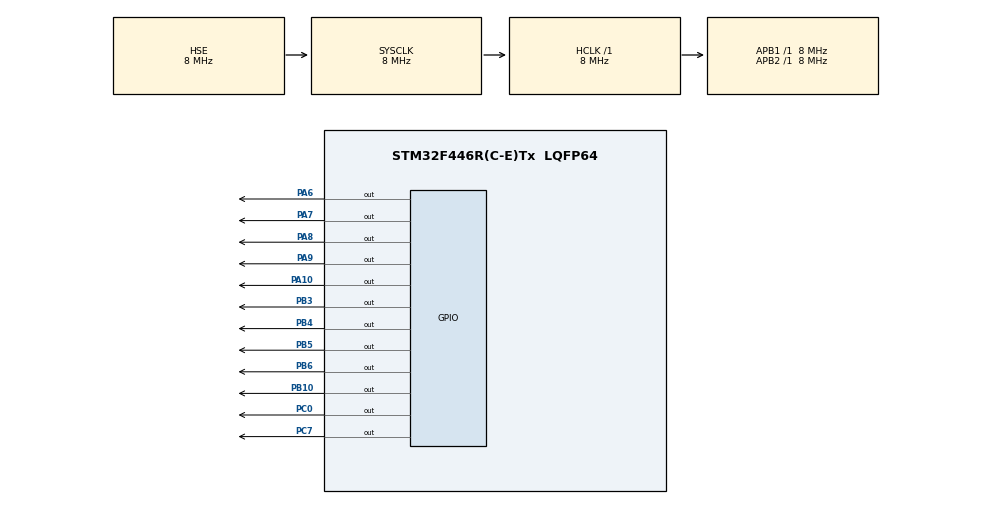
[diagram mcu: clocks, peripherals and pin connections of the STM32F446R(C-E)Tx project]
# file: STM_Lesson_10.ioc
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Mcu.Family=STM32F4
Mcu.Name=STM32F446R(C-E)Tx
Mcu.Package=LQFP64
NVIC.PriorityGroup=NVIC_PRIORITYGROUP_4
NVIC.TIM6_DAC_IRQn=true\:0\:0\:false\:false\:true\:true\:true\:true
PA10.GPIO_PuPd=GPIO_NOPULL
PA10.Signal=GPIO_Output
PA6.GPIO_PuPd=GPIO_PULLUP
PA6.PinState=GPIO_PIN_SET
PA6.Signal=GPIO_Output
PA7.GPIO_PuPd=GPIO_PULLUP
PA7.PinState=GPIO_PIN_SET
PA7.Signal=GPIO_Output
PA8.GPIO_PuPd=GPIO_NOPULL
PA8.Signal=GPIO_Output
PA9.GPIO_PuPd=GPIO_NOPULL
PA9.Signal=GPIO_Output
PB10.GPIO_PuPd=GPIO_NOPULL
PB10.Signal=GPIO_Output
PB3.GPIO_PuPd=GPIO_NOPULL
PB3.Signal=GPIO_Output
PB4.GPIO_PuPd=GPIO_NOPULL
PB4.Signal=GPIO_Output
PB5.GPIO_PuPd=GPIO_NOPULL
PB5.Signal=GPIO_Output
PB6.GPIO_PuPd=GPIO_PULLUP
PB6.PinState=GPIO_PIN_SET
PB6.Signal=GPIO_Output
PC0.PinState=GPIO_PIN_RESET
PC0.Signal=GPIO_Output
PC7.GPIO_PuPd=GPIO_PULLUP
PC7.PinState=GPIO_PIN_SET
PC7.Signal=GPIO_Output
PH0-OSC_IN.Mode=HSE-External-Clock-Source
PH0-OSC_IN.Signal=RCC_OSC_IN
PH1-OSC_OUT.Mode=HSE-External-Clock-Source
PH1-OSC_OUT.Signal=RCC_OSC_OUT
ProjectManager.HeapSize=0x200
ProjectManager.StackSize=0x400
ProjectManager.TargetToolchain=STM32CubeIDE
RCC.AHBFreq_Value=8000000
RCC.APB1Freq_Value=8000000
RCC.APB1TimFreq_Value=8000000
RCC.APB2Freq_Value=8000000
RCC.APB2TimFreq_Value=8000000
RCC.CortexFreq_Value=8000000
RCC.HCLKFreq_Value=8000000
RCC.HSE_VALUE=8000000
RCC.SYSCLKFreq_VALUE=8000000
RCC.SYSCLKSource=RCC_SYSCLKSOURCE_HSE
RCC.USBFreq_Value=96000000
RCC.VCOOutputFreq_Value=192000000
TIM6.Period=30
TIM6.Prescaler=999
VP_TIM6_VS_ClockSourceINT.Mode=Enable_Timer
board=custom

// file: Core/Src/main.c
/* USER CODE BEGIN Header */
/**
  ******************************************************************************
  * @file           : main.c
  * @brief          : Main program body
  ******************************************************************************
  * @attention
  *
  * Copyright (c) 2024 STMicroelectronics.
  * All rights reserved.
  *
  * This software is licensed under terms that can be found in the LICENSE file
  * in the root directory of this software component.
  * If no LICENSE file comes with this software, it is provided AS-IS.
  *
  ******************************************************************************
  */
/* USER CODE END Header */
#include "main.h"

/* USER CODE BEGIN PD */
#define SEG_A_0 HAL_GPIO_WritePin(GPIOA, GPIO_PIN_10, 0)
#define SEG_A_1 HAL_GPIO_WritePin(GPIOA, GPIO_PIN_10, 1)
#define SEG_B_0 HAL_GPIO_WritePin(GPIOB, GPIO_PIN_3, 0)
#define SEG_B_1 HAL_GPIO_WritePin(GPIOB, GPIO_PIN_3, 1)
#define SEG_C_0 HAL_GPIO_WritePin(GPIOB, GPIO_PIN_5, 0)
#define SEG_C_1 HAL_GPIO_WritePin(GPIOB, GPIO_PIN_5, 1)
#define SEG_D_0 HAL_GPIO_WritePin(GPIOB, GPIO_PIN_4, 0)
#define SEG_D_1 HAL_GPIO_WritePin(GPIOB, GPIO_PIN_4, 1)
#define SEG_E_0 HAL_GPIO_WritePin(GPIOB, GPIO_PIN_10, 0)
#define SEG_E_1 HAL_GPIO_WritePin(GPIOB, GPIO_PIN_10, 1)
#define SEG_F_0 HAL_GPIO_WritePin(GPIOA, GPIO_PIN_8, 0)
#define SEG_F_1 HAL_GPIO_WritePin(GPIOA, GPIO_PIN_8, 1)
#define SEG_G_0 HAL_GPIO_WritePin(GPIOA, GPIO_PIN_9, 0)
#define SEG_G_1 HAL_GPIO_WritePin(GPIOA, GPIO_PIN_9, 1)

#define RAZR_1_OFF  HAL_GPIO_WritePin(GPIOC, GPIO_PIN_7, 1)
#define RAZR_1_ON   HAL_GPIO_WritePin(GPIOC, GPIO_PIN_7, 0)
#define RAZR_2_OFF  HAL_GPIO_WritePin(GPIOB, GPIO_PIN_6, 1)
#define RAZR_2_ON   HAL_GPIO_WritePin(GPIOB, GPIO_PIN_6, 0)
#define RAZR_3_OFF  HAL_GPIO_WritePin(GPIOA, GPIO_PIN_7, 1)
#define RAZR_3_ON   HAL_GPIO_WritePin(GPIOA, GPIO_PIN_7, 0)
#define RAZR_4_OFF  HAL_GPIO_WritePin(GPIOA, GPIO_PIN_6, 1)
#define RAZR_4_ON   HAL_GPIO_WritePin(GPIOA, GPIO_PIN_6, 0)

#define TIME_DELAY 1000

volatile uint8_t count = 0;
int num_4, num_3, num_2, num_1 = 0;

/* USER CODE END PD */

TIM_HandleTypeDef htim6;

void SystemClock_Config(void);
static void MX_GPIO_Init(void);
static void MX_TIM6_Init(void);
/* USER CODE BEGIN PFP */
void showNumber(char num);
void showFullNumber(int num);

void HAL_TIM_PeriodElapsedCallback(TIM_HandleTypeDef * htim)
{

	if (++count > 4) count = 1;

	if(count == 4)
	{
		showNumber(num_4);
		RAZR_1_OFF;
		RAZR_2_OFF;
		RAZR_3_OFF;
		RAZR_4_ON;

	}

	if(count == 3)
	{
		showNumber(num_3);
		RAZR_1_OFF;
		RAZR_2_OFF;
		RAZR_3_ON;
		RAZR_4_OFF;
	}
	if(count == 2)
	{
		showNumber(num_2);
		RAZR_1_OFF;
		RAZR_2_ON;
		RAZR_3_OFF;
		RAZR_4_OFF;
	}
	if(count == 1)
	{
		showNumber(num_1);
		RAZR_1_ON;
		RAZR_2_OFF;
		RAZR_3_OFF;
		RAZR_4_OFF;
	}
//		HAL_GPIO_TogglePin(GPIOC, GPIO_PIN_0);

}
/* USER CODE END PFP */

int main(void)
{

  /* MCU Configuration--------------------------------------------------------*/

  /* Reset of all peripherals, Initializes the Flash interface and the Systick. */
  HAL_Init();

  /* Configure the system clock */
  SystemClock_Config();

  /* Initialize all configured peripherals */
  MX_GPIO_Init();
  MX_TIM6_Init();
  /* USER CODE BEGIN 2 */
 HAL_TIM_Base_Start_IT(&htim6);
//  showNumber(1);

//  RAZR_3_ON;
  /* USER CODE END 2 */

  /* Infinite loop */
  /* USER CODE BEGIN WHILE */
  while (1)
  {

//	  if (__HAL_TIM_GET_COUNTER(&htim6) == 4000)
//	  {
//		  HAL_GPIO_WritePin(GPIOC, GPIO_PIN_0, 1);
//	  }
//	  if (__HAL_TIM_GET_COUNTER(&htim6) == 7999)
//	  {
//		  HAL_GPIO_WritePin(GPIOC, GPIO_PIN_0, 0);
//	  }

	  showFullNumber(2538);
    /* USER CODE END WHILE */

  }
}

void SystemClock_Config(void)
{
  RCC_OscInitTypeDef RCC_OscInitStruct = {0};
  RCC_ClkInitTypeDef RCC_ClkInitStruct = {0};

  /** Configure the main internal regulator output voltage
  */
  __HAL_RCC_PWR_CLK_ENABLE();
  __HAL_PWR_VOLTAGESCALING_CONFIG(PWR_REGULATOR_VOLTAGE_SCALE3);

  /** Initializes the RCC Oscillators according to the specified parameters
  * in the RCC_OscInitTypeDef structure.
  */
  RCC_OscInitStruct.OscillatorType = RCC_OSCILLATORTYPE_HSE;
  RCC_OscInitStruct.HSEState = RCC_HSE_BYPASS;
  RCC_OscInitStruct.PLL.PLLState = RCC_PLL_NONE;
  if (HAL_RCC_OscConfig(&RCC_OscInitStruct) != HAL_OK)
  {
    Error_Handler();
  }

  /** Initializes the CPU, AHB and APB buses clocks
  */
  RCC_ClkInitStruct.ClockType = RCC_CLOCKTYPE_HCLK|RCC_CLOCKTYPE_SYSCLK
                              |RCC_CLOCKTYPE_PCLK1|RCC_CLOCKTYPE_PCLK2;
  RCC_ClkInitStruct.SYSCLKSource = RCC_SYSCLKSOURCE_HSE;
  RCC_ClkInitStruct.AHBCLKDivider = RCC_SYSCLK_DIV1;
  RCC_ClkInitStruct.APB1CLKDivider = RCC_HCLK_DIV1;
  RCC_ClkInitStruct.APB2CLKDivider = RCC_HCLK_DIV1;

  if (HAL_RCC_ClockConfig(&RCC_ClkInitStruct, FLASH_LATENCY_0) != HAL_OK)
  {
    Error_Handler();
  }
}

static void MX_TIM6_Init(void)
{

  TIM_MasterConfigTypeDef sMasterConfig = {0};

  htim6.Instance = TIM6;
  htim6.Init.Prescaler = 999;
  htim6.Init.CounterMode = TIM_COUNTERMODE_UP;
  htim6.Init.Period = 30;
  htim6.Init.AutoReloadPreload = TIM_AUTORELOAD_PRELOAD_DISABLE;
  if (HAL_TIM_Base_Init(&htim6) != HAL_OK)
  {
    Error_Handler();
  }
  sMasterConfig.MasterOutputTrigger = TIM_TRGO_RESET;
  sMasterConfig.MasterSlaveMode = TIM_MASTERSLAVEMODE_DISABLE;
  if (HAL_TIMEx_MasterConfigSynchronization(&htim6, &sMasterConfig) != HAL_OK)
  {
    Error_Handler();
  }

}

static void MX_GPIO_Init(void)
{
  GPIO_InitTypeDef GPIO_InitStruct = {0};

  /* GPIO Ports Clock Enable */
  __HAL_RCC_GPIOH_CLK_ENABLE();
  __HAL_RCC_GPIOC_CLK_ENABLE();
  __HAL_RCC_GPIOA_CLK_ENABLE();
  __HAL_RCC_GPIOB_CLK_ENABLE();

  /*Configure GPIO pin Output Level */
  HAL_GPIO_WritePin(GPIOC, GPIO_PIN_0, GPIO_PIN_RESET);

  /*Configure GPIO pin Output Level */
  HAL_GPIO_WritePin(GPIOA, GPIO_PIN_6|GPIO_PIN_7, GPIO_PIN_SET);

  /*Configure GPIO pin Output Level */
  HAL_GPIO_WritePin(GPIOB, GPIO_PIN_10|GPIO_PIN_3|GPIO_PIN_4|GPIO_PIN_5, GPIO_PIN_RESET);

  /*Configure GPIO pin Output Level */
  HAL_GPIO_WritePin(GPIOC, GPIO_PIN_7, GPIO_PIN_SET);

  /*Configure GPIO pin Output Level */
  HAL_GPIO_WritePin(GPIOA, GPIO_PIN_8|GPIO_PIN_9|GPIO_PIN_10, GPIO_PIN_RESET);

  /*Configure GPIO pin Output Level */
  HAL_GPIO_WritePin(GPIOB, GPIO_PIN_6, GPIO_PIN_SET);

  /*Configure GPIO pin : PC0 */
  GPIO_InitStruct.Pin = GPIO_PIN_0;
  GPIO_InitStruct.Mode = GPIO_MODE_OUTPUT_PP;
  GPIO_InitStruct.Pull = GPIO_NOPULL;
  GPIO_InitStruct.Speed = GPIO_SPEED_FREQ_LOW;
  HAL_GPIO_Init(GPIOC, &GPIO_InitStruct);

  /*Configure GPIO pins : PA6 PA7 */
  GPIO_InitStruct.Pin = GPIO_PIN_6|GPIO_PIN_7;
  GPIO_InitStruct.Mode = GPIO_MODE_OUTPUT_PP;
  GPIO_InitStruct.Pull = GPIO_PULLUP;
  GPIO_InitStruct.Speed = GPIO_SPEED_FREQ_LOW;
  HAL_GPIO_Init(GPIOA, &GPIO_InitStruct);

  /*Configure GPIO pins : PB10 PB3 PB4 PB5 */
  GPIO_InitStruct.Pin = GPIO_PIN_10|GPIO_PIN_3|GPIO_PIN_4|GPIO_PIN_5;
  GPIO_InitStruct.Mode = GPIO_MODE_OUTPUT_PP;
  GPIO_InitStruct.Pull = GPIO_NOPULL;
  GPIO_InitStruct.Speed = GPIO_SPEED_FREQ_LOW;
  HAL_GPIO_Init(GPIOB, &GPIO_InitStruct);

  /*Configure GPIO pin : PC7 */
  GPIO_InitStruct.Pin = GPIO_PIN_7;
  GPIO_InitStruct.Mode = GPIO_MODE_OUTPUT_PP;
  GPIO_InitStruct.Pull = GPIO_PULLUP;
  GPIO_InitStruct.Speed = GPIO_SPEED_FREQ_LOW;
  HAL_GPIO_Init(GPIOC, &GPIO_InitStruct);

  /*Configure GPIO pins : PA8 PA9 PA10 */
  GPIO_InitStruct.Pin = GPIO_PIN_8|GPIO_PIN_9|GPIO_PIN_10;
  GPIO_InitStruct.Mode = GPIO_MODE_OUTPUT_PP;
  GPIO_InitStruct.Pull = GPIO_NOPULL;
  GPIO_InitStruct.Speed = GPIO_SPEED_FREQ_LOW;
  HAL_GPIO_Init(GPIOA, &GPIO_InitStruct);

  /*Configure GPIO pin : PB6 */
  GPIO_InitStruct.Pin = GPIO_PIN_6;
  GPIO_InitStruct.Mode = GPIO_MODE_OUTPUT_PP;
  GPIO_InitStruct.Pull = GPIO_PULLUP;
  GPIO_InitStruct.Speed = GPIO_SPEED_FREQ_LOW;
  HAL_GPIO_Init(GPIOB, &GPIO_InitStruct);

}

/* USER CODE BEGIN 4 */
void showNumber(char num)
{
	switch (num) {
	case 0: SEG_A_1; SEG_B_1; SEG_C_1; SEG_D_1; SEG_E_1; SEG_F_1; SEG_G_0; break;
	case 1:	SEG_A_0; SEG_B_1; SEG_C_1; SEG_D_0; SEG_E_0; SEG_F_0; SEG_G_0; break;
	case 2:	SEG_A_1; SEG_B_1; SEG_C_0; SEG_D_1;	SEG_E_1; SEG_F_0; SEG_G_1; break;
	case 3:	SEG_A_1; SEG_B_1; SEG_C_1; SEG_D_1;	SEG_E_0; SEG_F_0; SEG_G_1; break;
	case 4:	SEG_A_0; SEG_B_1; SEG_C_1; SEG_D_0; SEG_E_0; SEG_F_1; SEG_G_1; break;
	case 5:	SEG_A_1; SEG_B_0; SEG_C_1; SEG_D_1; SEG_E_0; SEG_F_1; SEG_G_1; break;
	case 6: SEG_A_1; SEG_B_0; SEG_C_1; SEG_D_1; SEG_E_1; SEG_F_1; SEG_G_1; break;
	case 7: SEG_A_1; SEG_B_1; SEG_C_1; SEG_D_0; SEG_E_0; SEG_F_0; SEG_G_0; break;
	case 8: SEG_A_1; SEG_B_1; SEG_C_1; SEG_D_1; SEG_E_1; SEG_F_1; SEG_G_1; break;
	case 9: SEG_A_1; SEG_B_1; SEG_C_1; SEG_D_1; SEG_E_0; SEG_F_1; SEG_G_1; break;
	default: SEG_A_1; SEG_B_0; SEG_C_0; SEG_D_1; SEG_E_1; SEG_F_1; SEG_G_1;
	}
}

void showFullNumber(int num)
{

	num_4 = num / 1000;
	num_3 = num % 1000 / 100;
	num_2 = num % 100 /10;
	num_1 = num % 10;

}
/* USER CODE END 4 */

void Error_Handler(void)
{
  __disable_irq();
  while (1)
  {
  }
}
